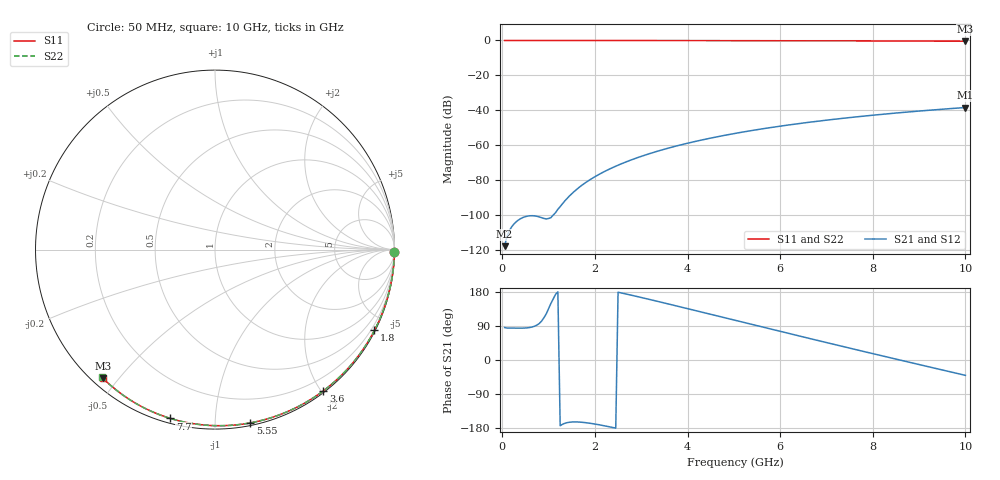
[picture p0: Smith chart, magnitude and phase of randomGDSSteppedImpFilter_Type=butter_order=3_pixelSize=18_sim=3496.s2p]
! freq	dB(S11)	phase(S11)	dB(S12)	phase(S12)
!  dB(S21)	phase(S21)	dB(S22)	phase(S22)
!S-par simulation data
#  GHz  S  DB  R 50
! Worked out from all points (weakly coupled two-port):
!   200 points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, 50 MHz to 10 GHz, reference 50 ohm
!   highest |S21| = -38.42 dB at 10 GHz (marker M1); lowest = -117.8 dB at 50 MHz (marker M2)
!   lowest |S11| = -0.4 dB at 10 GHz (marker M3), VSWR 39.15, Z = 1.54 - j22.7 ohm
!   |S11| at or under -10 dB: nowhere
!   |S22| runs from -0.4 to 0.0 dB; largest |S21 - S12| = 0
!   S11 on the Smith chart (normalised r, x): 50 MHz: open; 1.8 GHz: 0.04, -4.19; 3.6 GHz: 0.02, -2.03; 5.55 GHz: 0.02, -1.22; 7.7 GHz: 0.02, -0.77; 10 GHz: 0.03, -0.45
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0.05  -0.00 -0.8  -117.84 85.6  -117.84 85.6  -0.00 -0.8
0.9  -0.02 -13.6  -101.97 111.8  -101.97 111.8  -0.02 -13.6
1.75  -0.03 -26.1  -82.35 -164.7  -82.35 -164.7  -0.03 -26.2
1.8  -0.03 -26.9  -81.41 -165.4  -81.41 -165.4  -0.03 -27.0
1.85  -0.04 -27.6  -80.52 -166.2  -80.52 -166.2  -0.04 -27.7
1.9  -0.04 -28.3  -79.67 -167.0  -79.67 -167.0  -0.04 -28.4
2.05  -0.04 -30.5  -77.29 -170.1  -77.29 -170.1  -0.04 -30.6
2.25  -0.04 -33.4  -74.49 -174.7  -74.49 -174.7  -0.04 -33.5
2.45  -0.05 -36.3  -72.02 -179.8  -72.02 -179.8  -0.05 -36.4
2.65  -0.05 -39.2  -69.80 174.8  -69.80 174.8  -0.05 -39.3
3  -0.06 -44.1  -66.39 165.0  -66.39 165.0  -0.06 -44.3
3.4  -0.07 -49.7  -63.06 153.4  -63.06 153.4  -0.07 -49.9
3.6  -0.07 -52.5  -61.57 147.5  -61.57 147.5  -0.07 -52.7
4.3  -0.09 -62.1  -57.06 126.6  -57.06 126.6  -0.09 -62.3
5.05  -0.11 -72.0  -53.13 104.1  -53.13 104.1  -0.11 -72.3
5.55  -0.13 -78.5  -50.90 89.1  -50.90 89.1  -0.13 -78.8
6.1  -0.15 -85.4  -48.72 72.6  -48.72 72.6  -0.15 -85.7
6.7  -0.18 -92.8  -46.61 54.8  -46.61 54.8  -0.18 -93.2
7.7  -0.24 -104.8  -43.62 25.5  -43.62 25.5  -0.24 -105.2
8.35  -0.29 -112.3  -41.94 6.7  -41.94 6.7  -0.29 -112.8
9.15  -0.36 -121.5  -40.12 -16.3  -40.12 -16.3  -0.36 -122.0
10  -0.44 -131.1  -38.42 -40.5  -38.42 -40.5  -0.44 -131.6
